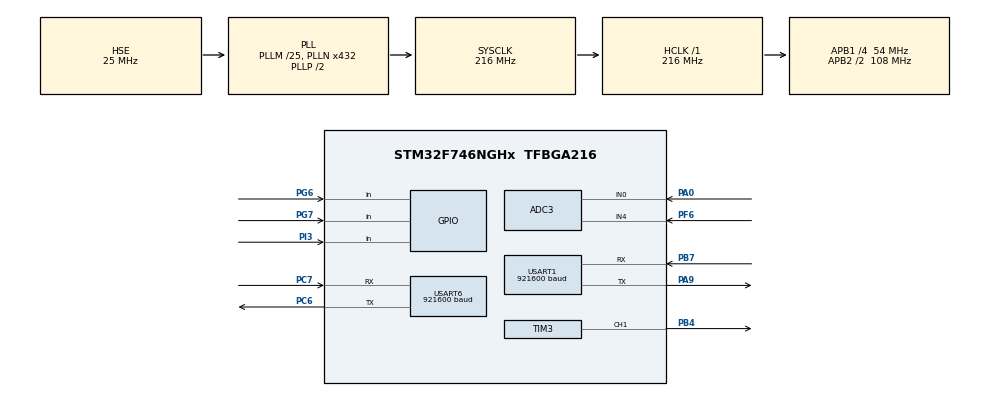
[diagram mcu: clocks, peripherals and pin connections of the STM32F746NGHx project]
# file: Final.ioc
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ADC3.Channel-0\#ChannelRegularConversion=ADC_CHANNEL_0
ADC3.Channel-1\#ChannelRegularConversion=ADC_CHANNEL_4
ADC3.DMAContinuousRequests=ENABLE
ADC3.ExternalTrigConv=ADC_EXTERNALTRIGCONV_T2_TRGO
ADC3.NbrOfConversion=2
ADC3.NbrOfConversionFlag=1
ADC3.Rank-0\#ChannelRegularConversion=1
ADC3.Rank-1\#ChannelRegularConversion=2
ADC3.SamplingTime-0\#ChannelRegularConversion=ADC_SAMPLETIME_28CYCLES
ADC3.SamplingTime-1\#ChannelRegularConversion=ADC_SAMPLETIME_28CYCLES
Dma.ADC3.1.Direction=DMA_PERIPH_TO_MEMORY
Dma.ADC3.1.FIFOMode=DMA_FIFOMODE_DISABLE
Dma.ADC3.1.Instance=DMA2_Stream0
Dma.ADC3.1.MemDataAlignment=DMA_MDATAALIGN_HALFWORD
Dma.ADC3.1.MemInc=DMA_MINC_ENABLE
Dma.ADC3.1.Mode=DMA_CIRCULAR
Dma.ADC3.1.PeriphDataAlignment=DMA_PDATAALIGN_HALFWORD
Dma.ADC3.1.PeriphInc=DMA_PINC_DISABLE
Dma.ADC3.1.Priority=DMA_PRIORITY_HIGH
Dma.Request0=USART6_TX
Dma.Request1=ADC3
Dma.Request2=USART6_RX
Dma.Request3=USART1_RX
Dma.Request4=USART1_TX
Dma.USART1_RX.3.Direction=DMA_PERIPH_TO_MEMORY
Dma.USART1_RX.3.FIFOMode=DMA_FIFOMODE_DISABLE
Dma.USART1_RX.3.Instance=DMA2_Stream2
Dma.USART1_RX.3.MemDataAlignment=DMA_MDATAALIGN_BYTE
Dma.USART1_RX.3.MemInc=DMA_MINC_ENABLE
Dma.USART1_RX.3.Mode=DMA_CIRCULAR
Dma.USART1_RX.3.PeriphDataAlignment=DMA_PDATAALIGN_BYTE
Dma.USART1_RX.3.PeriphInc=DMA_PINC_DISABLE
Dma.USART1_RX.3.Priority=DMA_PRIORITY_LOW
Dma.USART1_TX.4.Direction=DMA_MEMORY_TO_PERIPH
Dma.USART1_TX.4.FIFOMode=DMA_FIFOMODE_DISABLE
Dma.USART1_TX.4.Instance=DMA2_Stream7
Dma.USART1_TX.4.MemDataAlignment=DMA_MDATAALIGN_BYTE
Dma.USART1_TX.4.MemInc=DMA_MINC_ENABLE
Dma.USART1_TX.4.Mode=DMA_NORMAL
Dma.USART1_TX.4.PeriphDataAlignment=DMA_PDATAALIGN_BYTE
Dma.USART1_TX.4.PeriphInc=DMA_PINC_DISABLE
Dma.USART1_TX.4.Priority=DMA_PRIORITY_HIGH
Dma.USART6_RX.2.Direction=DMA_PERIPH_TO_MEMORY
Dma.USART6_RX.2.FIFOMode=DMA_FIFOMODE_DISABLE
Dma.USART6_RX.2.Instance=DMA2_Stream1
Dma.USART6_RX.2.MemDataAlignment=DMA_MDATAALIGN_BYTE
Dma.USART6_RX.2.MemInc=DMA_MINC_ENABLE
Dma.USART6_RX.2.Mode=DMA_CIRCULAR
Dma.USART6_RX.2.PeriphDataAlignment=DMA_PDATAALIGN_BYTE
Dma.USART6_RX.2.PeriphInc=DMA_PINC_DISABLE
Dma.USART6_RX.2.Priority=DMA_PRIORITY_LOW
Dma.USART6_TX.0.Direction=DMA_MEMORY_TO_PERIPH
Dma.USART6_TX.0.FIFOMode=DMA_FIFOMODE_DISABLE
Dma.USART6_TX.0.Instance=DMA2_Stream6
Dma.USART6_TX.0.MemDataAlignment=DMA_MDATAALIGN_BYTE
Dma.USART6_TX.0.MemInc=DMA_MINC_ENABLE
Dma.USART6_TX.0.Mode=DMA_NORMAL
Dma.USART6_TX.0.PeriphDataAlignment=DMA_PDATAALIGN_BYTE
Dma.USART6_TX.0.PeriphInc=DMA_PINC_DISABLE
Dma.USART6_TX.0.Priority=DMA_PRIORITY_HIGH
Mcu.Family=STM32F7
Mcu.Name=STM32F746NGHx
Mcu.Package=TFBGA216
NVIC.ADC_IRQn=true\:0\:0\:false\:false\:true\:true\:true
NVIC.DMA2_Stream0_IRQn=true\:1\:0\:true\:false\:true\:false\:true
NVIC.DMA2_Stream1_IRQn=true\:0\:0\:false\:false\:true\:false\:true
NVIC.DMA2_Stream2_IRQn=true\:0\:0\:false\:false\:true\:false\:true
NVIC.DMA2_Stream6_IRQn=true\:3\:0\:true\:false\:true\:false\:true
NVIC.DMA2_Stream7_IRQn=true\:0\:0\:false\:false\:true\:false\:true
NVIC.PriorityGroup=NVIC_PRIORITYGROUP_4
NVIC.TIM2_IRQn=true\:3\:0\:true\:false\:true\:true\:true
NVIC.USART1_IRQn=true\:0\:0\:false\:false\:true\:true\:true
NVIC.USART6_IRQn=true\:1\:0\:true\:false\:true\:true\:true
PA0/WKUP.Signal=ADCx_IN0
PA13.Mode=Serial_Wire
PA13.Signal=SYS_JTMS-SWDIO
PA14.Mode=Serial_Wire
PA14.Signal=SYS_JTCK-SWCLK
PA9.Mode=Asynchronous
PA9.Signal=USART1_TX
PB4.Signal=S_TIM3_CH1
PB7.Mode=Asynchronous
PB7.Signal=USART1_RX
PC6.Mode=Asynchronous
PC6.Signal=USART6_TX
PC7.Mode=Asynchronous
PC7.Signal=USART6_RX
PF6.Mode=IN4
PF6.Signal=ADC3_IN4
PG6.GPIO_PuPd=GPIO_PULLDOWN
PG6.Signal=GPIO_Input
PG7.GPIO_PuPd=GPIO_PULLDOWN
PG7.Signal=GPIO_Input
PH0/OSC_IN.Mode=HSE-External-Oscillator
PH0/OSC_IN.Signal=RCC_OSC_IN
PH1/OSC_OUT.Mode=HSE-External-Oscillator
PH1/OSC_OUT.Signal=RCC_OSC_OUT
PI3.GPIO_PuPd=GPIO_PULLDOWN
PI3.Signal=GPIO_Input
ProjectManager.HeapSize=0x200
ProjectManager.StackSize=0x400
ProjectManager.TargetToolchain=STM32CubeIDE
RCC.AHBFreq_Value=216000000
RCC.APB1CLKDivider=RCC_HCLK_DIV4
RCC.APB1Freq_Value=54000000
RCC.APB1TimFreq_Value=108000000
RCC.APB2CLKDivider=RCC_HCLK_DIV2
RCC.APB2Freq_Value=108000000
RCC.APB2TimFreq_Value=216000000
RCC.CortexFreq_Value=216000000
RCC.HCLKFreq_Value=216000000
RCC.HSE_VALUE=25000000
RCC.HSI_VALUE=16000000
RCC.LSE_VALUE=32768
RCC.PLLM=25
RCC.PLLN=432
RCC.PLLSourceVirtual=RCC_PLLSOURCE_HSE
RCC.SYSCLKFreq_VALUE=216000000
RCC.SYSCLKSource=RCC_SYSCLKSOURCE_PLLCLK
RCC.USBFreq_Value=216000000
RCC.VCOOutputFreq_Value=432000000
SH.ADCx_IN0.0=ADC3_IN0,IN0
SH.S_TIM3_CH1.0=TIM3_CH1,PWM Generation1 CH1
TIM2.Channel-PWM\ Generation1\ No\ Output=TIM_CHANNEL_1
TIM2.Period=5399
TIM2.Prescaler=4-1
TIM2.TIM_MasterOutputTrigger=TIM_TRGO_UPDATE
TIM3.Channel-PWM\ Generation1\ CH1=TIM_CHANNEL_1
TIM3.Period=999
TIM3.Prescaler=108-1
USART1.BaudRate=921600
USART1.VirtualMode-Asynchronous=VM_ASYNC
USART6.BaudRate=921600
USART6.VirtualMode-Asynchronous=VM_ASYNC
VP_TIM2_VS_ClockSourceINT.Mode=Internal
VP_TIM2_VS_no_output1.Mode=PWM Generation1 No Output
VP_TIM3_VS_ClockSourceINT.Mode=Internal
board=custom

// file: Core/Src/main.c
/* USER CODE BEGIN Header */
/**
  ******************************************************************************
  * @file           : main.c
  * @brief          : Main program body
  ******************************************************************************
  * @attention
  *
  * <h2><center>&copy; Copyright (c) 2026 STMicroelectronics.
  * All rights reserved.</center></h2>
  *
  * This software component is licensed by ST under BSD 3-Clause license,
  * the "License"; You may not use this file except in compliance with the
  * License. You may obtain a copy of the License at:
  *                        opensource.org/licenses/BSD-3-Clause
  *
  ******************************************************************************
  */
/* USER CODE END Header */
#include "main.h"
#include "adc.h"
#include "dma.h"
#include "tim.h"
#include "usart.h"
#include "gpio.h"

/* USER CODE BEGIN Includes */
#include <stdio.h>
#include <string.h>

/* USER CODE END Includes */

/* USER CODE BEGIN PD */
//每帧参数
#define APP_NPTS 100u //每帧每通道的采样点数
#define APP_FRAME_LEN 456u //上行帧总字节数
#define APP_DIV_NUM 3u //档位数量：10ms/5ms/1ms每格
#define APP_FRAME_PERIOD 20u //两帧最小间隔（ms）

//调试用USART1，发送用(&huart6)/USART6
#define APP_UART            (&huart6)
#define APP_UART_INST       USART6

//帧字节偏移
#define F_HEAD0 0u //AA
#define F_HEAD1 1u //55
#define F_SEQ 2u //帧序号0~255
#define F_FLAGS 3u //通道使能位图 bit0~bit4
#define F_DIV 4u //档位号0~2
#define F_TRIGSRC 5u //触发源（基础部分没有触发）
#define F_TRIGPOS 6u //触发点（无触发为0xFF）
#define F_NPTS 7u //点数，恒100
#define F_CH1 8u //CH1[100] 200字节
#define F_CH2 208u //CH2[100] 200字节
#define F_DIG 408u //DIG[3][13] 39字节
#define F_DT 447u //采样间隔us，uint16奇数偏移
#define F_ACK 449u //最近执行的下行命令码
#define F_TAIL 450u //5A
#define F_EXT 451u //扩展5字节：FREQ1(2) FREQ2(2) WAVE_EN(1)，之前自发自收加的，现在没用了

//下行命令码
#define CMD_SET_DIV 0x01u //档位设置
#define CMD_SET_CH_EN 0x02u //通道使能设置
#define CMD_SET_WAVE_HZ 0x04u //矩形波频率设置
#define CMD_SET_WAVE_EN 0x05u //矩形波使能，0无/1有
#define CMD_GET_STATUS 0x06u //空

//数字通道
#define DIG1_PORT GPIOI
#define DIG1_PIN GPIO_PIN_3 //PI3
#define DIG2_PORT GPIOG
#define DIG2_PIN GPIO_PIN_6 //PG6
#define DIG3_PORT GPIOG
#define DIG3_PIN GPIO_PIN_7 //PG7

//矩形波发生器输出
#define WAVE_BASE_HZ 1000000u //PSC分频之后的频率
#define WAVE_HZ_MIN 100u //100hz
#define WAVE_HZ_MAX 10000u //10khz
/* USER CODE END PD */

/* USER CODE BEGIN PV */
//运行状态
static uint8_t g_div=0u;//显示档位
static uint16_t g_dt_us=200u;//采样间隔（us）
static uint8_t g_ch_en=0x1Fu;//通道使能
static uint8_t g_seq=0u;//帧序号
static uint8_t g_ack=0u;//执行成功的命令
static uint8_t g_trig_src=0u;//触发源，基础部分为0
//数字通道采集缓冲
//TIM2中断写入，切换半区时清零新半区
static uint8_t g_dig[2][3u*13u];//两半交替写，每半3通道×13字节=39字节，13x8=104刚好能装100个点
static volatile uint8_t g_dig_w=0u;//正在写的半区，0对应采样点0~99，1对应100~199
static uint8_t g_dig_idx=0u;//采样点号
//PWM
static uint16_t g_wave_hz=1000u;//初始1000hz
//ADC缓冲
static uint16_t g_adc_buf[4u*APP_NPTS];
//双缓冲
static uint16_t g_snap[2][2u*APP_NPTS];
static uint8_t g_snap_dig[2][3u*13u];
static volatile uint8_t g_snap_w =0u; //最近写完的下标
static volatile uint32_t g_snap_seq =0u; //写入完成数量
static volatile uint8_t g_drop= 0u; //切档位后待丢弃份数
//串口收发
static uint8_t g_rx[16]; //循环DMA接收缓冲
static volatile uint8_t g_tx_busy =0u; //DMA发送空闲标志
static uint32_t g_tx_last =0u; //上次发包的时间
static uint8_t g_rx_win[8]; //命令8字节滑动窗口
static uint16_t g_rx_pos =0u; //已填满到的下标
//发送帧缓冲
static uint8_t g_frame[APP_FRAME_LEN] __attribute__((aligned(4)));//按四字节对齐
//ADC溢出次数
static volatile uint32_t g_ovr_cnt =0u;
/* USER CODE END PV */

void SystemClock_Config(void);
/* USER CODE BEGIN PFP */
//函数声明
static void app_apply_div(uint8_t div);
static void app_wave_hz(uint16_t hz);
static uint8_t app_dig_level(void);
static void app_dig_push(uint8_t lv);
static void app_snap_write(const uint16_t *src,const uint8_t *dig);
static int app_snap_read(uint16_t *dst,uint8_t *dst_dig);
static void app_frame_build(const uint16_t *src,const uint8_t *dig);
static void app_rx_poll(void);
static void app_cmd_exec(uint8_t cmd,uint8_t a0,uint8_t a1);
static void app_init(void);
static void app_task(void);
/* USER CODE END PFP */

/* USER CODE BEGIN 0 */
//三个显示档位
static const uint16_t k_dt_us[APP_DIV_NUM] ={200u,100u,20u}; //采样点间隔，10，5，1ms
static const uint16_t k_t2_arr[APP_DIV_NUM] ={5399u,2699u,539u}; //ARR=DT*27-1，PSC=3
/* USER CODE END 0 */

int main(void)
{

  /* MCU Configuration--------------------------------------------------------*/

  /* Reset of all peripherals, Initializes the Flash interface and the Systick. */
  HAL_Init();

  /* Configure the system clock */
  SystemClock_Config();

  /* Initialize all configured peripherals */
  MX_GPIO_Init();
  MX_DMA_Init();
  MX_USART6_UART_Init();
  MX_ADC3_Init();
  MX_USART1_UART_Init();
  MX_TIM2_Init();
  MX_TIM3_Init();
  /* USER CODE BEGIN 2 */
  app_init();
  /* USER CODE END 2 */

  /* Infinite loop */
  /* USER CODE BEGIN WHILE */
  while (1)
  {
	  app_task();
    /* USER CODE END WHILE */

  }
}

void SystemClock_Config(void)
{
  RCC_OscInitTypeDef RCC_OscInitStruct = {0};
  RCC_ClkInitTypeDef RCC_ClkInitStruct = {0};
  RCC_PeriphCLKInitTypeDef PeriphClkInitStruct = {0};

  /** Configure the main internal regulator output voltage
  */
  __HAL_RCC_PWR_CLK_ENABLE();
  __HAL_PWR_VOLTAGESCALING_CONFIG(PWR_REGULATOR_VOLTAGE_SCALE1);
  /** Initializes the RCC Oscillators according to the specified parameters
  * in the RCC_OscInitTypeDef structure.
  */
  RCC_OscInitStruct.OscillatorType = RCC_OSCILLATORTYPE_HSE;
  RCC_OscInitStruct.HSEState = RCC_HSE_ON;
  RCC_OscInitStruct.PLL.PLLState = RCC_PLL_ON;
  RCC_OscInitStruct.PLL.PLLSource = RCC_PLLSOURCE_HSE;
  RCC_OscInitStruct.PLL.PLLM = 25;
  RCC_OscInitStruct.PLL.PLLN = 432;
  RCC_OscInitStruct.PLL.PLLP = RCC_PLLP_DIV2;
  RCC_OscInitStruct.PLL.PLLQ = 2;
  if (HAL_RCC_OscConfig(&RCC_OscInitStruct) != HAL_OK)
  {
    Error_Handler();
  }
  /** Activate the Over-Drive mode
  */
  if (HAL_PWREx_EnableOverDrive() != HAL_OK)
  {
    Error_Handler();
  }
  /** Initializes the CPU, AHB and APB buses clocks
  */
  RCC_ClkInitStruct.ClockType = RCC_CLOCKTYPE_HCLK|RCC_CLOCKTYPE_SYSCLK
                              |RCC_CLOCKTYPE_PCLK1|RCC_CLOCKTYPE_PCLK2;
  RCC_ClkInitStruct.SYSCLKSource = RCC_SYSCLKSOURCE_PLLCLK;
  RCC_ClkInitStruct.AHBCLKDivider = RCC_SYSCLK_DIV1;
  RCC_ClkInitStruct.APB1CLKDivider = RCC_HCLK_DIV4;
  RCC_ClkInitStruct.APB2CLKDivider = RCC_HCLK_DIV2;

  if (HAL_RCC_ClockConfig(&RCC_ClkInitStruct, FLASH_LATENCY_7) != HAL_OK)
  {
    Error_Handler();
  }
  PeriphClkInitStruct.PeriphClockSelection = RCC_PERIPHCLK_USART1|RCC_PERIPHCLK_USART6;
  PeriphClkInitStruct.Usart1ClockSelection = RCC_USART1CLKSOURCE_PCLK2;
  PeriphClkInitStruct.Usart6ClockSelection = RCC_USART6CLKSOURCE_PCLK2;
  if (HAL_RCCEx_PeriphCLKConfig(&PeriphClkInitStruct) != HAL_OK)
  {
    Error_Handler();
  }
}

/* USER CODE BEGIN 4 */
//读取数字通道引脚状态
static uint8_t app_dig_level(void)
{
	uint8_t lv=0u;
	if((DIG1_PORT->IDR & DIG1_PIN)!=0u)
		lv|=0x01u;//0000 0001
	if((DIG2_PORT->IDR & DIG2_PIN)!=0u)
		lv|=0x02u;//0000 0010
	if((DIG3_PORT->IDR & DIG3_PIN)!=0u)
		lv|=0x04u;//0000 0100
	return lv;
}

//设置矩形波发生器频率
static void app_wave_hz(uint16_t hz)
{
	uint32_t arr,crr;
	if(hz<WAVE_HZ_MIN)
		hz=WAVE_HZ_MIN;
	if(hz>WAVE_HZ_MAX)
		hz=WAVE_HZ_MAX;
	arr=WAVE_BASE_HZ/(uint32_t)hz;
	if(arr==0u)
		arr=1u;
	arr-=1u;
	crr=(arr+1u)/2u;//占空比50%
	g_wave_hz=hz;
	__HAL_TIM_SET_AUTORELOAD(&htim3,arr);
	__HAL_TIM_SET_COMPARE(&htim3,TIM_CHANNEL_1,crr);
	htim3.Instance->EGR=TIM_EGR_UG;//更改事件产生寄存器，立即修改ARR和CRR
}

//切换档位
static void app_apply_div(uint8_t div)
{
	if(div>=APP_DIV_NUM)
		div=0u;
	g_div=div;
	g_dt_us=k_dt_us[div];
	__HAL_TIM_SET_AUTORELOAD(&htim2,k_t2_arr[div]);
	__HAL_TIM_SET_COUNTER(&htim2,0u);
	htim2.Instance->EGR=TIM_EGR_UG;//重启TIM2
	g_drop=2u;//丢弃之前采的完整的，现在没采完的
}

//双缓冲读取
static void app_snap_write(const uint16_t *src,const uint8_t *dig)
{
	uint8_t w=(uint8_t)(g_snap_w^1u); //缓冲复制另外一份
	memcpy(g_snap[w],src,2u*APP_NPTS*sizeof(uint16_t));
	memcpy(g_snap_dig[w],dig,3u*13u);
	g_snap_w=w;
	g_snap_seq++; //写入数量加一
}

static int app_snap_read(uint16_t *dst, uint8_t *dst_dig)
{
	uint32_t s1,s2;
	uint8_t idx;
	idx=g_snap_w;
	s1=g_snap_seq;
	if(s1==0u)
		return 0;//第一帧处理
	memcpy(dst,g_snap[idx],2u*APP_NPTS*sizeof(uint16_t));
	memcpy(dst_dig,g_snap_dig[idx],3u*13u);
	s2=g_snap_seq;
	return (s1==s2)?1:0;//防止中断打断
}

//数字通道电平写入位图
static void app_dig_push(uint8_t lv)
{
	uint8_t *d=g_dig[g_dig_w];
	uint8_t bi=(uint8_t)(g_dig_idx>>3);//求字节偏移
	uint8_t mk=(uint8_t)(1u<<(g_dig_idx&7u));//求字节内位偏移并生成掩码
	if((lv & 0x01u)!=0u)
		d[bi]|=mk;
	if((lv & 0x02u)!=0u)
		d[13u+bi]|=mk;
	if((lv & 0x04u)!=0u)
		d[26u+bi]|=mk;
	g_dig_idx++;
	if(g_dig_idx>=APP_NPTS)
	{
		g_dig_idx=0u;
		g_dig_w^=1u;//换半区
		memset(g_dig[g_dig_w],0,39u);//清空下一个要写入的半区
	}
}

//组帧
static void app_frame_build(const uint16_t *src,const uint8_t *dig)
{
	uint16_t *p1=(uint16_t *)&g_frame[F_CH1];
	uint16_t *p2=(uint16_t *)&g_frame[F_CH2];
	uint32_t i;
	uint8_t div=g_div;
	uint16_t dt_us=g_dt_us;
	uint8_t ch_en=g_ch_en;
	uint8_t trig=g_trig_src;
	uint8_t ack=g_ack;
	uint8_t seq=g_seq;
	uint16_t wave=g_wave_hz;
	//解交织
	for(i=0u;i<APP_NPTS;i++)
	{
		p1[i]=src[2u*i];//电位器
		p2[i]=src[2u*i+1u];//麦克风
	}
	//数字位图
	memcpy(&g_frame[F_DIG],dig,39u);
	//帧头
  g_frame[F_HEAD0]=0xAAu;
  g_frame[F_HEAD1]=0x55u;
  g_frame[F_NPTS]=(uint8_t)APP_NPTS;
	g_frame[F_SEQ]=seq;
	g_frame[F_FLAGS]=(uint8_t)(ch_en & 0x1Fu);//没有触发
	g_frame[F_DIV]=div;
	g_frame[F_ACK]=ack;
	g_frame[F_TRIGSRC]=trig;
	g_frame[F_TRIGPOS]=0xFFu;//0xFF表示无触发
	//时间基准
	g_frame[F_DT]=(uint8_t)(dt_us & 0xFFu);
	g_frame[F_DT+1u]=(uint8_t)(dt_us>>8);//高字节在后
	//帧尾
	g_frame[F_TAIL]=0x5Au;
	//帧尾扩展部分
	g_frame[F_EXT]=(uint8_t)(wave & 0xFFu);
	g_frame[F_EXT+1u]=(uint8_t)(wave>>8);//矩形波发生器的频率
	g_frame[F_EXT+2u]=0u;
	g_frame[F_EXT+3u]=0u;
	g_frame[F_EXT+4u]=1u;//数字通道采集的外部信号
	//帧序号加一
	g_seq=(uint8_t)(seq+1u);//（uint8_t）截断可以实现自动重排
}

//接受命令，滑动窗口搜索帧头帧尾
static void app_rx_poll(void)
{
    uint16_t ndtr=(uint16_t)__HAL_DMA_GET_COUNTER(APP_UART->hdmarx);
    uint16_t head=(uint16_t)((16u-ndtr)&15u);//循环下标，（16-NDTR）&15，NDTR记录的是缓冲区剩余量
    while(g_rx_pos!=head)
    {
    	uint8_t b=g_rx[g_rx_pos];
        g_rx_pos=(uint16_t)((g_rx_pos+1u)&15u);//下标右移一位
        //窗口左移一字节，新字节放末尾
        uint8_t i;
        for(i=1u;i<8u;i++)
        {
            g_rx_win[i-1u]=g_rx_win[i];
        }
        g_rx_win[7]=b;
        //找到帧头和帧尾就执行命令
        if ((g_rx_win[0]==0xAAu)&&(g_rx_win[1]==0x55u)&&(g_rx_win[7]==0x5Au))
            app_cmd_exec(g_rx_win[2], g_rx_win[3], g_rx_win[4]);
    }
}

//执行命令，3号命令是设置触发，未使用
static void app_cmd_exec(uint8_t cmd,uint8_t a0,uint8_t a1)
{
    uint16_t hz;
    switch (cmd)
    {
    case CMD_SET_DIV://切档位
        if(a0<APP_DIV_NUM)
        {
            app_apply_div(a0);
            g_ack=CMD_SET_DIV;
        }
        break;
    case CMD_SET_CH_EN://通道使能
        g_ch_en=(uint8_t)(a0 & 0x1Fu);
        g_ack=CMD_SET_CH_EN;
        break;
    case CMD_SET_WAVE_HZ://设置矩形波输出频率
        hz=(uint16_t)((uint16_t)a0 | ((uint16_t)a1 << 8));
        app_wave_hz(hz);
        g_ack=CMD_SET_WAVE_HZ;
        break;
    case CMD_SET_WAVE_EN://矩形波输出使能
        if(a0!=0u)
        	HAL_TIM_PWM_Start(&htim3,TIM_CHANNEL_1);
        else
        	HAL_TIM_PWM_Stop(&htim3,TIM_CHANNEL_1);
        g_ack=CMD_SET_WAVE_EN;
        break;
    case CMD_GET_STATUS://回执
        g_ack=CMD_GET_STATUS;
        break;
    default:
        break;
    }
}

//初始化
static void app_init(void)
{
    //帧静态段
    memset(g_frame,0,sizeof(g_frame));
    //档位
    app_apply_div(0u);
    //矩形波发生器
    app_wave_hz(g_wave_hz);
    HAL_TIM_PWM_Start(&htim3, TIM_CHANNEL_1);
    //清空数字通道位图缓冲
    memset(g_dig,0,sizeof(g_dig));
    //启动命令接收
    HAL_UART_Receive_DMA(APP_UART,g_rx,(uint16_t)sizeof(g_rx));
    //启动ADC+DMA
    HAL_ADC_Start_DMA(&hadc3,(uint32_t *)g_adc_buf,4u*APP_NPTS);
    //改软件触发
    ADC3->CR2 &= ~ADC_CR2_EXTEN;
    //启动TIM2更新中断，由中断发起SWSTART
    HAL_TIM_Base_Start_IT(&htim2);
}

//主循环任务
static void app_task(void)
{
    static uint16_t buf[2u*APP_NPTS];
    static uint8_t digbuf[3u*13u];
    //命令解析
    app_rx_poll();
    //上一帧DMA还没发完
    if(g_tx_busy!=0u)
    	return;
    //距上一帧不足20ms，返回，串口速率限制
    if((HAL_GetTick()-g_tx_last)<APP_FRAME_PERIOD)
    	return;
    //读缓存的时候被中断打断了
    if(app_snap_read(buf, digbuf)==0)
    	return;
    //组帧并启动DMA发送
    app_frame_build(buf, digbuf);

    if (HAL_UART_Transmit_DMA(APP_UART,g_frame,APP_FRAME_LEN)==HAL_OK)//串口发送成功
    {
        g_tx_busy=1u;
        g_tx_last=HAL_GetTick();
    }
}

//TIM2中断触发位图写入和ADC采样
void HAL_TIM_PeriodElapsedCallback(TIM_HandleTypeDef *htim)
{
    if (htim->Instance==TIM2)
    {
    	app_dig_push(app_dig_level());
    	ADC3->CR2|=ADC_CR2_SWSTART;//为了控制采样率和通道确定采用中断里面触发ADC
    }
    else
    	return;
}

//ADC半满、全满、错误回调函数
void HAL_ADC_ConvHalfCpltCallback(ADC_HandleTypeDef* hadc)//半满
{
	if(hadc->Instance!=ADC3)
		return;
	if(g_drop!=0u)
	{
		g_drop--;
		return;
	}
	app_snap_write(&g_adc_buf[0],g_dig[g_dig_w^1u]);
}

void HAL_ADC_ConvCpltCallback(ADC_HandleTypeDef* hadc)//全满
{
	if(hadc->Instance!=ADC3)
		return;
	if(g_drop!=0u)
	{
		g_drop--;
		return;
	}
	app_snap_write(&g_adc_buf[2u*APP_NPTS],g_dig[g_dig_w^1u]);
}

void HAL_ADC_ErrorCallback(ADC_HandleTypeDef *hadc)//溢出
{
	if(hadc->Instance!=ADC3)
		return;
	__HAL_ADC_CLEAR_FLAG(hadc,ADC_FLAG_OVR);
	g_ovr_cnt++;
}

//串口发送完成、出错
void HAL_UART_TxCpltCallback(UART_HandleTypeDef *huart)//发送完成
{
    if(huart->Instance!=APP_UART_INST)
    	return;
    g_tx_busy=0u;//发送空闲
}

void HAL_UART_ErrorCallback(UART_HandleTypeDef *huart)//出错
{
    if(huart->Instance!=APP_UART_INST)
    	return;
    if(huart->RxState==HAL_UART_STATE_READY)//HAL_UART_Receive_DMA()在串口处于占用时调用会返回HAL_BUSY，不会重新接收
        HAL_UART_Receive_DMA(APP_UART,g_rx,(uint16_t)sizeof(g_rx));
}

/* USER CODE END 4 */

void Error_Handler(void)
{
  __disable_irq();
  while (1)
  {
  }
}

/************************ (C) COPYRIGHT STMicroelectronics *****END OF FILE****/
